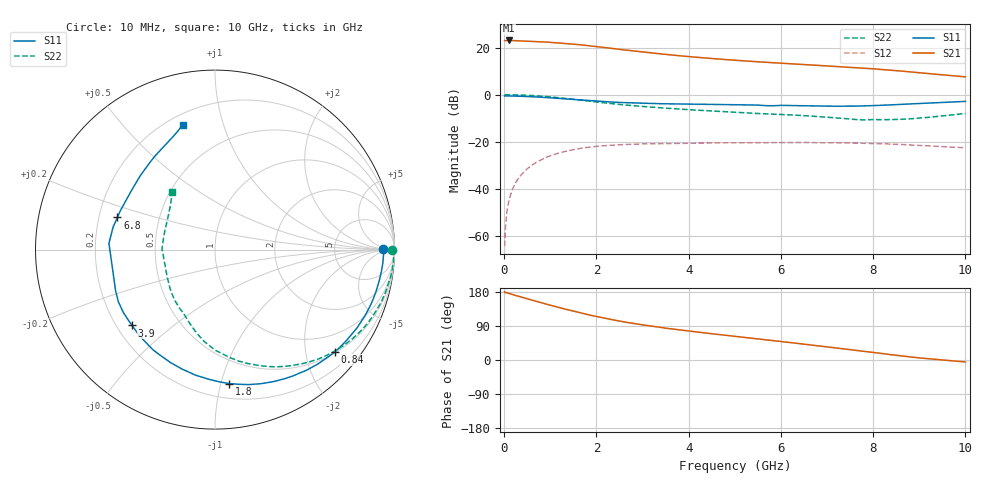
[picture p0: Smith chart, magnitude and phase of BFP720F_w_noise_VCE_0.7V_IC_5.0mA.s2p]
! Infineon Technologies  Discrete & RF Semiconductors
! BFP720F
! VCE =  0.7 V,  IC =  5.0 mA
! Common Emitter S-Parameters:  Jan 2016
# GHz  S  MA  R  50
!  f  S11  S21  S12  S22
! GHz  MAG  ANG  MAG  ANG  MAG  ANG  MAG  ANG
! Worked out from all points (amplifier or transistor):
!   233 points, 10 MHz to 10 GHz, reference 50 ohm
!   highest |S21| = 23.0 dB at 100 MHz (marker M1)
!   |S21| within 3 dB of that: start of sweep to 2.175 GHz
!   unconditionally stable (mu >= 1): start of sweep to 10.66 MHz; 8.256 GHz to end of sweep
!   at 200 MHz: K = 0.03, MSG = 31.1 dB, |S12| = -39.3 dB
!   at 1.74 GHz: K = 0.21, MSG = 21.8 dB, |S12| = -22.6 dB
!   at 10 GHz: K = 1.22, MAG = 12.3 dB, |S12| = -22.6 dB
!   lowest NFmin = 0.41 dB at 450 MHz
!   S11 on the Smith chart (normalised r, x): 10 MHz: 31, +1; 840 MHz: 0.53, -2.62; 1.8 GHz: 0.31, -1.06; 3.9 GHz: 0.26, -0.36; 6.8 GHz: 0.28, +0.15; 10 GHz: 0.26, +0.74
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0.01  0.9375 0.1  14.16 179.8  0.0006 14.5  0.9872 0.0
0.02  0.9404 -0.9  13.98 177.9  0.0011 86.9  0.9988 -1.3
0.05  0.9384 -2.5  14.17 177.8  0.0027 88.8  0.9956 -1.9
0.1  0.938 -4.8  14.18 175.9  0.0053 87.4  0.9962 -3.6
0.2  0.9331 -9.6  14.04 172.0  0.0108 84.2  0.9916 -7.4
0.4  0.9208 -19.3  13.84 164.9  0.0213 77.9  0.9772 -14.8
0.84  0.8766 -40.5  13.25 150.0  0.0429 64.4  0.9226 -30.7
1  0.8572 -48.0  12.93 144.6  0.0501 59.6  0.8953 -36.5
1.28  0.8191 -61.0  12.31 135.6  0.0607 51.7  0.8412 -46.1
1.68  0.7644 -79.1  11.39 123.4  0.0726 41.4  0.7583 -59.0
1.8  0.7502 -84.1  11.06 120.0  0.0755 38.5  0.7359 -62.6
2.2  0.7076 -99.0  9.971 109.6  0.0825 30.0  0.6635 -73.5
2.6  0.6767 -111.4  8.945 100.5  0.0868 22.8  0.6052 -82.5
3  0.6568 -121.7  8.076 92.7  0.0896 17.2  0.5604 -89.9
3.4  0.6403 -129.5  7.331 85.9  0.0911 12.4  0.524 -95.2
3.9  0.6265 -137.6  6.571 78.1  0.0926 7.1  0.4855 -100.9
4.5  0.6192 -145.7  5.855 69.3  0.0941 1.7  0.449 -106.5
5.1  0.6088 -152.8  5.299 61.1  0.095 -3.3  0.4169 -112.1
6.8  0.5728 161.8  4.186 37.5  0.0953 -17.0  0.342 -134.7
8.4  0.6077 126.3  3.296 13.8  0.0888 -30.1  0.2947 165.5
9  0.6472 114.9  2.917 5.5  0.083 -34.1  0.3164 146.2
10  0.7182 104.5  2.388 -5.2  0.0741 -37.5  0.398 126.8
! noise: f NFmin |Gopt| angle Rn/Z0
0.45  0.41  0.49  4  0.15
0.9  0.44  0.48  9  0.17
1.8  0.5  0.44  20  0.17
2.4  0.54  0.41  29  0.14
5.5  0.72  0.37  68  0.1
10  1  0.25  -109  0.15
